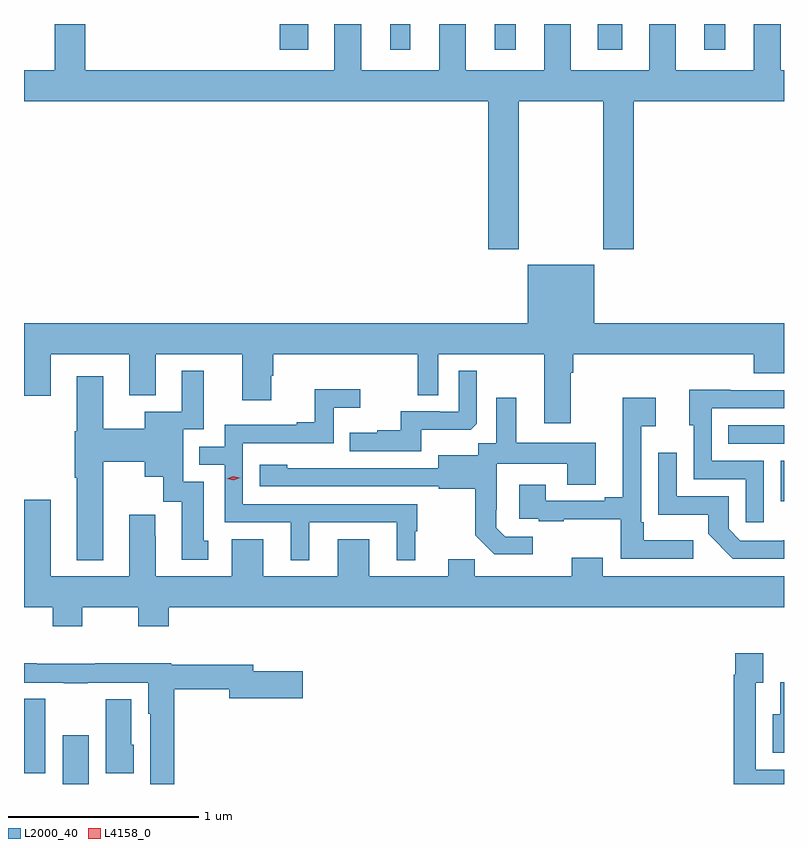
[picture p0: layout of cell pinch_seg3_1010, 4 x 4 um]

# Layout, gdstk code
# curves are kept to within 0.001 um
import gdstk
lib = gdstk.Library(unit=1e-6, precision=1e-09)
def R(c, l, rs):  # rectangles x0, y0, x1, y1
    for r in rs: c.add(gdstk.rectangle(r[:2], r[2:], *l))
def P(c, l, *ps):  # polygons
    for p in ps: c.add(gdstk.Polygon(p, *l))
L2000_40 = (2000, 40)
L4158_0 = (4158, 0)

pinch_seg3_1010 = lib.new_cell('pinch_seg3_1010')
R(pinch_seg3_1010, L2000_40, [(447.296,684.003,447.433,684.259), (447.093,684.06,447.205,684.452), (451.076,685.49,451.093,685.705), (450.799,685.794,451.093,685.89), (448.439,687.867,448.588,688.003), (449.021,687.867,449.125,688.003), (449.57,687.867,449.68,688.003), (450.113,687.867,450.241,688.003), (450.674,687.867,450.784,688.003)])
P(pinch_seg3_1010, L2000_40, [(449.697,687.596),(450.142,687.596),(450.142,686.817),(450.302,686.817),(450.302,687.596),(451.093,687.596),(451.093,687.76),(451.075,687.76),(451.075,688.003),(450.935,688.003),(450.935,687.76),(450.523,687.76),(450.523,688.003),(450.383,688.003),(450.383,687.76),(449.971,687.76),(449.971,688.003),(449.831,688.003),(449.831,687.76),(449.419,687.76),(449.419,688.003),(449.279,688.003),(449.279,687.76),(448.867,687.76),(448.867,688.003),(448.727,688.003),(448.727,687.76),(447.416,687.76),(447.416,688.003),(447.256,688.003),(447.256,687.76),(447.093,687.76),(447.093,687.596),(449.537,687.596),(449.537,686.817),(449.697,686.817)],
  [(447.093,686.046),(447.235,686.046),(447.235,686.264),(447.647,686.264),(447.647,686.048),(447.787,686.048),(447.787,686.264),(448.241,686.264),(448.241,686.022),(448.393,686.022),(448.393,686.151),(448.406,686.151),(448.406,686.264),(449.166,686.264),(449.166,686.05),(449.274,686.05),(449.274,686.264),(449.831,686.264),(449.831,685.902),(449.971,685.902),(449.971,686.168),(449.984,686.168),(449.984,686.264),(450.935,686.264),(450.935,686.165),(451.093,686.165),(451.093,686.428),(450.094,686.428),(450.094,686.737),(449.744,686.737),(449.744,686.428),(447.093,686.428)],
  [(447.511,685.7),(447.728,685.7),(447.728,685.619),(447.827,685.619),(447.827,685.488),(447.923,685.488),(447.923,685.182),(448.063,685.182),(448.063,685.284),(448.039,685.284),(448.039,685.593),(447.93,685.593),(447.93,685.869),(448.039,685.869),(448.039,686.179),(447.923,686.179),(447.923,685.963),(447.728,685.963),(447.728,685.872),(447.511,685.872),(447.511,686.149),(447.371,686.149),(447.371,685.86),(447.359,685.86),(447.359,685.616),(447.371,685.616),(447.371,685.181),(447.511,685.181)],
  [(449.185,685.868),(449.443,685.868),(449.475,685.899),(449.475,686.179),(449.382,686.179),(449.382,685.962),(449.282,685.962),(449.282,685.965),(449.075,685.965),(449.075,685.864),(448.951,685.864),(448.951,685.852),(448.807,685.852),(448.807,685.755),(449.185,685.755)],
  [(448.594,685.38),(449.054,685.38),(449.054,685.181),(449.152,685.181),(449.152,685.332),(449.164,685.332),(449.164,685.476),(448.245,685.476),(448.245,685.797),(448.722,685.797),(448.722,685.982),(448.864,685.982),(448.864,686.081),(448.624,686.081),(448.624,685.906),(448.529,685.906),(448.529,685.893),(448.149,685.893),(448.149,685.779),(448.016,685.779),(448.016,685.683),(448.149,685.683),(448.149,685.38),(448.496,685.38),(448.496,685.181),(448.594,685.181)],
  [(450.987,685.704),(450.714,685.704),(450.714,685.98),(451.093,685.98),(451.093,686.076),(450.811,686.076),(450.811,686.078),(450.593,686.078),(450.593,685.89),(450.618,685.89),(450.618,685.608),(450.891,685.608),(450.891,685.38),(450.987,685.38)],
  [(449.77,685.305),(449.625,685.305),(449.578,685.352),(449.578,685.447),(449.58,685.447),(449.58,685.688),(449.951,685.688),(449.951,685.579),(450.103,685.579),(450.103,685.798),(449.683,685.798),(449.683,686.035),(449.579,686.035),(449.579,685.796),(449.484,685.796),(449.484,685.732),(449.273,685.732),(449.273,685.665),(448.479,685.666),(448.479,685.684),(448.335,685.684),(448.335,685.569),(449.277,685.569),(449.277,685.557),(449.469,685.557),(449.469,685.311),(449.569,685.211),(449.77,685.211)],
  [(450.616,685.285),(450.355,685.285),(450.355,685.381),(450.342,685.381),(450.342,685.886),(450.418,685.886),(450.418,686.035),(450.245,686.035),(450.245,685.513),(450.149,685.513),(450.149,685.494),(449.839,685.494),(449.839,685.579),(449.699,685.579),(449.699,685.398),(449.803,685.398),(449.803,685.386),(449.935,685.386),(449.935,685.397),(450.234,685.397),(450.234,685.188),(450.616,685.188)],
  [(451.093,685.286),(451.088,685.286),(451.088,685.284),(450.864,685.284),(450.801,685.347),(450.801,685.518),(450.528,685.518),(450.528,685.747),(450.432,685.747),(450.432,685.421),(450.694,685.421),(450.694,685.319),(450.824,685.188),(451.093,685.188)],
  [(447.399,684.932),(447.694,684.932),(447.694,684.833),(447.854,684.833),(447.854,684.932),(451.093,684.932),(451.093,685.096),(450.139,685.096),(450.139,685.195),(449.975,685.195),(449.975,685.096),(449.465,685.096),(449.465,685.187),(449.327,685.187),(449.327,685.096),(448.909,685.096),(448.909,685.291),(448.745,685.291),(448.745,685.096),(448.351,685.096),(448.351,685.291),(448.187,685.291),(448.187,685.096),(447.787,685.096),(447.787,685.307),(447.784,685.307),(447.784,685.42),(447.647,685.42),(447.647,685.096),(447.235,685.096),(447.235,685.498),(447.093,685.498),(447.093,684.932),(447.244,684.932),(447.244,684.833),(447.399,684.833)],
  [(451.093,684.078),(450.945,684.078),(450.945,684.535),(450.985,684.535),(450.985,684.691),(450.837,684.691),(450.837,684.578),(450.829,684.578),(450.829,684.003),(451.093,684.003)],
  [(447.884,684.502),(448.172,684.502),(448.172,684.455),(448.561,684.455),(448.561,684.597),(448.3,684.597),(448.3,684.631),(447.867,684.631),(447.867,684.638),(447.467,684.638),(447.467,684.635),(447.161,684.635),(447.161,684.638),(447.093,684.638),(447.093,684.537),(447.301,684.537),(447.301,684.532),(447.428,684.532),(447.428,684.537),(447.746,684.537),(447.746,684.372),(447.758,684.372),(447.758,684.003),(447.884,684.003)],
  [(451.093,684.538),(451.073,684.538),(451.073,684.37),(451.034,684.37),(451.034,684.167),(451.093,684.167)],
  [(447.67,684.21),(447.658,684.21),(447.658,684.448),(447.524,684.448),(447.524,684.06),(447.67,684.06)])
P(pinch_seg3_1010, L4158_0, [(448.196,685.603),(448.161,685.61),(448.16,685.61),(448.161,685.61),(448.194,685.623),(448.229,685.615),(448.23,685.615),(448.229,685.615)])

lib.write_gds('pinch_seg3_1010.gds')
